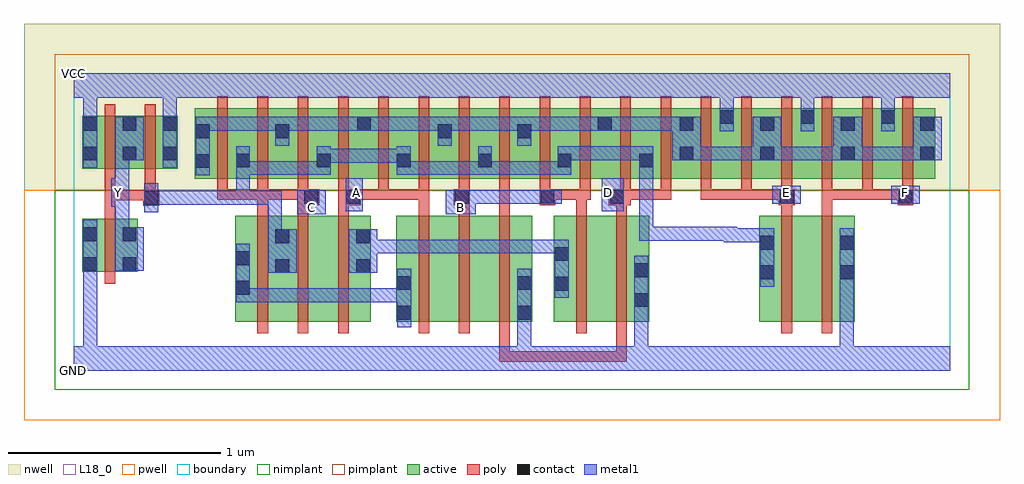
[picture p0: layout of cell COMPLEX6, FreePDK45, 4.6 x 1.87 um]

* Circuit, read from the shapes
.subckt COMPLEX6 A B C D E F GND VCC Y
M1 Y n1 GND VSUBS nfet w=0.25u l=0.05u
M2 n1 C n2 VSUBS nfet w=0.5u l=0.05u
M3 n3 C n1 VSUBS nfet w=0.5u l=0.05u
M4 n4 A n3 VSUBS nfet w=0.5u l=0.05u
M5 n5 A n2 VSUBS nfet w=0.5u l=0.05u
M6 n6 B n5 VSUBS nfet w=0.5u l=0.05u
M7 GND D n6 VSUBS nfet w=0.5u l=0.05u
M8 n7 B n4 VSUBS nfet w=0.5u l=0.05u
M9 GND D n7 VSUBS nfet w=0.5u l=0.05u
M10 n8 E n1 VSUBS nfet w=0.5u l=0.05u
M11 GND F n8 VSUBS nfet w=0.5u l=0.05u
M12 Y n1 VCC n9 pfet w=0.25u l=0.05u m=2
M13 n1 C n10 n9 pfet w=0.332u l=0.05u m=3
M14 n10 A n1 n9 pfet w=0.332u l=0.05u m=3
M15 n1 B n10 n9 pfet w=0.332u l=0.05u m=3
M16 n10 D n1 n9 pfet w=0.332u l=0.05u m=3
M17 VCC E n10 n9 pfet w=0.332u l=0.05u m=3
M18 n10 F VCC n9 pfet w=0.332u l=0.05u m=3
.ends

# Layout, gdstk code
import gdstk
lib = gdstk.Library(unit=1e-6, precision=1e-09)
def R(c, l, rs):  # rectangles x0, y0, x1, y1
    for r in rs: c.add(gdstk.rectangle(r[:2], r[2:], *l))
def A(c, l, x, y, w, h, nx, ny, dx, dy):  # array of equal rectangles
    R(c, l, [(x+i*dx, y+j*dy, x+i*dx+w, y+j*dy+h) for i in range(nx) for j in range(ny)])
active = (1, 0)
pwell = (2, 0)
nwell = (3, 0)
nimplant = (4, 0)
pimplant = (5, 0)
poly = (9, 0)
contact = (10, 0)
metal1 = (11, 0)
L18_0 = (18, 0)
boundary = (235, 0)

complex6 = lib.new_cell('COMPLEX6')
A(complex6, active, 0.57, 0.905, 0.265, 0.332, 3, 1, 0.57, 0)
A(complex6, active, 2.66, 0.905, 0.265, 0.332, 6, 1, 0.19, 0)
R(complex6, active, [(0.76,0.23,1.02,0.73), (0.945,0.23,1.175,0.73), (1.175,0.23,1.4,0.73), (1.52,0.23,1.595,0.73), (1.52,0.23,1.745,0.73), (1.745,0.23,1.935,0.73), (1.935,0.23,2.16,0.73), (2.085,0.23,2.16,0.637), (2.262,0.23,2.337,0.73), (2.262,0.23,2.487,0.73), (2.487,0.23,2.712,0.73), (2.637,0.23,2.712,0.73), (3.23,0.23,3.305,0.73), (3.23,0.23,3.455,0.73), (3.455,0.23,3.68,0.73), (3.605,0.23,3.68,0.73), (0.76,0.235,0.835,0.73), (0.945,0.295,1.02,0.73), (1.325,0.295,1.4,0.73), (0.04,0.465,0.115,0.715), (0.04,0.465,0.3,0.715), (0.225,0.465,0.3,0.715), (0.57,0.905,0.645,1.2), (0.76,0.905,1.02,1.237), (0.76,0.905,0.835,1.07), (0.945,0.905,1.215,1.237), (1.14,0.905,1.215,1.07), (1.33,0.905,1.592,1.237), (1.517,0.905,1.592,1.07), (1.517,0.905,1.785,1.237), (1.9,0.905,2.16,1.237), (1.9,0.905,1.975,1.07), (2.085,0.905,2.35,1.237), (2.275,0.905,2.54,1.237), (2.275,0.905,2.35,1.07), (2.465,0.905,2.735,1.237), (2.85,0.905,2.925,1.2), (3.61,0.905,3.685,1.2), (3.8,0.905,4.06,1.237), (3.8,0.905,3.875,1.237), (3.985,0.905,4.06,1.2), (3.23,0.915,3.305,1.2), (2.465,0.947,2.54,1.2), (2.66,0.947,2.735,1.07), (3.04,0.947,3.115,1.237), (0.04,0.95,0.115,1.2), (0.04,0.95,0.3,1.2), (0.225,0.95,0.49,1.2), (0.415,0.95,0.49,1.2), (0.945,0.975,1.02,1.2), (1.33,0.975,1.405,1.2), (1.71,0.975,1.785,1.2), (2.085,0.975,2.16,1.2), (3.42,0.975,3.495,1.237), (0.225,0.985,0.3,1.2)])
R(complex6, pwell, [(-0.235,-0.235,4.365,0.85)])
R(complex6, nwell, [(-0.235,0.85,4.365,1.635)])
R(complex6, nimplant, [(-0.09,-0.09,4.22,0.85)])
R(complex6, pimplant, [(-0.09,0.85,4.22,1.49)])
A(complex6, poly, 0.865, 0.175, 0.05, 0.61, 3, 1, 0.19, 0)
A(complex6, poly, 1.625, 0.175, 0.05, 0.61, 3, 1, 0.19, 0)
A(complex6, poly, 0.675, 0.805, 0.05, 0.095, 7, 1, 0.19, 0)
A(complex6, poly, 2.195, 0.805, 0.05, 0.095, 10, 1, 0.19, 0)
A(complex6, poly, 2.765, 0.805, 0.05, 0.05, 3, 1, 0.19, 0)
A(complex6, poly, 0.675, 0.85, 0.05, 0.442, 18, 1, 0.19, 0)
R(complex6, poly, [(2.005,0.042,2.055,0.092), (2.005,0.042,2.055,0.092), (2.005,0.042,2.055,0.092), (2.005,0.042,2.055,0.225), (2.005,0.042,2.187,0.092), (2.137,0.042,2.187,0.092), (2.137,0.042,2.44,0.092), (2.39,0.042,2.44,0.092), (2.39,0.042,2.44,0.092), (2.39,0.042,2.44,0.092), (2.39,0.042,2.607,0.092), (2.557,0.042,2.607,0.092), (2.557,0.042,2.607,0.092), (2.557,0.042,2.607,0.092), (2.557,0.042,2.607,0.225), (2.367,0.175,2.417,0.785), (2.557,0.175,2.607,0.785), (3.335,0.175,3.385,0.785), (3.525,0.175,3.575,0.785), (0.145,0.41,0.195,0.77), (0.145,0.72,0.195,0.852), (0.865,0.735,0.915,0.855), (1.055,0.735,1.105,0.83), (1.245,0.735,1.295,0.83), (1.625,0.735,1.675,0.855), (1.815,0.735,1.865,0.83), (2.005,0.735,2.055,0.83), (2.367,0.735,2.417,0.855), (2.557,0.735,2.607,0.83), (3.335,0.735,3.385,0.83), (3.525,0.735,3.575,0.855), (0.327,0.777,0.402,0.852), (1.055,0.78,1.157,0.855), (1.245,0.78,1.352,0.855), (1.79,0.78,1.865,0.855), (2.005,0.78,2.055,0.83), (2.005,0.78,2.055,0.9), (2.195,0.78,2.27,0.855), (2.522,0.78,2.625,0.855), (3.322,0.78,3.397,0.855), (3.882,0.78,3.957,0.855), (0.145,0.802,0.195,0.852), (0.145,0.802,0.195,0.852), (0.145,0.802,0.195,0.852), (0.145,0.802,0.195,0.945), (0.145,0.802,0.377,0.852), (0.335,0.802,0.385,0.945), (0.675,0.805,0.725,0.855), (0.675,0.805,0.915,0.855), (0.865,0.805,0.915,0.855), (0.865,0.805,0.915,0.855), (0.865,0.805,0.915,0.855), (0.865,0.805,1.105,0.855), (1.055,0.805,1.105,0.855), (1.055,0.805,1.105,0.855), (1.302,0.805,1.352,0.855), (1.302,0.805,1.352,0.855), (1.302,0.805,1.485,0.855), (1.435,0.805,1.485,0.855), (1.435,0.805,1.675,0.855), (1.625,0.805,1.675,0.855), (1.625,0.805,1.675,0.855), (1.625,0.805,1.675,0.855), (2.22,0.805,2.417,0.855), (2.367,0.805,2.417,0.855), (2.367,0.805,2.417,0.855), (2.367,0.805,2.435,0.855), (2.575,0.805,2.815,0.855), (2.765,0.805,2.815,0.855), (2.765,0.805,2.815,0.855), (2.955,0.805,3.195,0.855), (3.145,0.805,3.195,0.855), (3.145,0.805,3.195,0.855), (3.145,0.805,3.372,0.855), (3.322,0.805,3.372,0.855), (3.322,0.805,3.372,0.855), (3.525,0.805,3.575,0.855), (3.525,0.805,3.765,0.855), (3.715,0.805,3.765,0.855), (3.715,0.805,3.765,0.855), (3.715,0.805,3.765,0.855), (3.715,0.805,3.932,0.855), (3.882,0.805,3.932,0.855), (3.882,0.805,3.932,0.855), (0.145,0.895,0.195,1.255), (0.335,0.895,0.385,1.255)])
A(complex6, contact, 2.855, 0.99, 0.065, 0.065, 3, 2, 0.38, 0.14)
A(complex6, contact, 3.045, 1.162, 0.065, 0.065, 3, 1, 0.38, 0)
R(complex6, contact, [(1.525,0.24,1.59,0.305), (2.09,0.24,2.155,0.305), (2.642,0.3,2.707,0.365), (0.765,0.357,0.83,0.422), (2.267,0.377,2.332,0.442), (1.525,0.38,1.59,0.445), (2.09,0.38,2.155,0.445), (3.235,0.43,3.3,0.495), (3.61,0.43,3.675,0.495), (2.642,0.44,2.707,0.505), (0.95,0.46,1.015,0.525), (1.33,0.46,1.395,0.525), (0.045,0.47,0.11,0.535), (0.23,0.47,0.295,0.535), (0.765,0.497,0.83,0.562), (2.267,0.517,2.332,0.582), (3.235,0.57,3.3,0.635), (3.61,0.57,3.675,0.635), (0.95,0.6,1.015,0.665), (1.33,0.6,1.395,0.665), (0.045,0.61,0.11,0.675), (0.23,0.61,0.295,0.675), (0.332,0.782,0.397,0.847), (1.087,0.785,1.152,0.85), (1.282,0.785,1.347,0.85), (1.795,0.785,1.86,0.85), (2.2,0.785,2.265,0.85), (2.527,0.785,2.592,0.85), (3.327,0.785,3.392,0.85), (3.887,0.785,3.952,0.85), (0.575,0.955,0.64,1.02), (0.765,0.957,0.83,1.022), (1.145,0.957,1.21,1.022), (1.522,0.957,1.587,1.022), (1.905,0.957,1.97,1.022), (2.28,0.957,2.345,1.022), (2.665,0.957,2.73,1.022), (0.045,0.99,0.11,1.055), (0.23,0.99,0.295,1.055), (0.42,0.99,0.485,1.055), (3.99,0.99,4.055,1.055), (0.575,1.095,0.64,1.16), (0.95,1.095,1.015,1.16), (1.715,1.095,1.78,1.16), (2.09,1.095,2.155,1.16), (0.045,1.13,0.11,1.195), (0.23,1.13,0.295,1.195), (0.42,1.13,0.485,1.195), (1.335,1.13,1.4,1.195), (2.47,1.13,2.535,1.195), (3.99,1.13,4.055,1.195)])
A(complex6, metal1, 2.82, 0.99, 0.135, 0.205, 3, 1, 0.38, 0)
A(complex6, metal1, 3.045, 1.127, 0.065, 0.135, 3, 1, 0.38, 0)
A(complex6, metal1, 3.045, 1.197, 0.065, 0.153, 3, 1, 0.38, 0)
R(complex6, metal1, [(0,0,4.13,0.115), (0.045,0.05,0.11,0.115), (0.045,0.05,0.11,0.115), (0.045,0.05,0.11,0.115), (0.045,0.05,0.11,0.115), (0.045,0.05,0.11,0.115), (0.045,0.05,0.11,0.115), (0.045,0.05,0.11,0.5), (2.09,0.05,2.155,0.27), (2.642,0.05,2.707,0.115), (2.642,0.05,2.707,0.115), (2.642,0.05,2.707,0.33), (3.61,0.05,3.675,0.46), (1.525,0.205,1.59,0.48), (2.09,0.205,2.155,0.27), (2.09,0.205,2.155,0.27), (2.09,0.205,2.155,0.27), (2.09,0.205,2.155,0.27), (2.09,0.205,2.155,0.48), (2.642,0.265,2.707,0.33), (2.642,0.265,2.707,0.33), (2.642,0.265,2.707,0.54), (0.765,0.322,0.83,0.387), (0.765,0.322,0.83,0.387), (0.765,0.322,0.83,0.597), (0.765,0.322,1.072,0.387), (1.007,0.322,1.072,0.387), (1.007,0.322,1.072,0.387), (1.007,0.322,1.072,0.387), (1.007,0.322,1.222,0.387), (1.157,0.322,1.222,0.387), (1.157,0.322,1.222,0.387), (1.157,0.322,1.222,0.387), (1.157,0.322,1.45,0.387), (1.385,0.322,1.45,0.387), (1.385,0.322,1.45,0.387), (1.385,0.322,1.45,0.387), (1.385,0.322,1.59,0.387), (2.267,0.342,2.332,0.617), (3.235,0.395,3.3,0.67), (3.61,0.395,3.675,0.46), (3.61,0.395,3.675,0.46), (3.61,0.395,3.675,0.46), (3.61,0.395,3.675,0.46), (3.61,0.395,3.675,0.67), (0.045,0.435,0.11,0.5), (0.045,0.435,0.11,0.5), (0.045,0.435,0.11,0.71), (0.915,0.46,1.05,0.665), (1.295,0.46,1.43,0.665), (0.195,0.47,0.33,0.675), (1.365,0.552,1.43,0.617), (1.365,0.552,1.43,0.617), (1.365,0.552,1.587,0.617), (1.522,0.552,1.587,0.617), (1.522,0.552,1.587,0.617), (1.522,0.552,1.587,0.617), (1.522,0.552,1.832,0.617), (1.767,0.552,1.97,0.617), (1.767,0.552,1.832,0.617), (1.767,0.552,1.832,0.617), (1.767,0.552,1.832,0.617), (1.905,0.552,1.97,0.617), (1.905,0.552,2.057,0.617), (1.992,0.552,2.195,0.617), (1.992,0.552,2.057,0.617), (2.13,0.552,2.195,0.617), (2.13,0.552,2.195,0.617), (2.13,0.552,2.195,0.617), (2.13,0.552,2.332,0.617), (0.915,0.6,0.98,0.847), (3.062,0.605,3.127,0.67), (3.062,0.605,3.127,0.67), (3.062,0.605,3.127,0.67), (3.062,0.605,3.3,0.67), (3.062,0.605,3.127,0.677), (0.195,0.61,0.26,0.837), (2.665,0.612,2.73,0.677), (2.665,0.612,2.73,0.677), (2.665,0.612,2.73,0.677), (2.665,0.612,2.955,0.677), (2.665,0.612,2.73,0.987), (2.89,0.612,2.955,0.677), (2.89,0.612,2.955,0.677), (2.89,0.612,2.955,0.677), (2.89,0.612,3.127,0.677), (3.062,0.612,3.127,0.677), (1.052,0.737,1.187,0.85), (1.752,0.737,1.895,0.85), (0.332,0.747,0.397,0.882), (1.282,0.75,1.362,0.907), (2.487,0.75,2.592,0.907), (0.177,0.772,0.26,0.907), (0.332,0.782,0.397,0.847), (0.332,0.782,0.397,0.847), (0.332,0.782,0.692,0.847), (0.627,0.782,0.83,0.847), (0.627,0.782,0.692,0.847), (0.627,0.782,0.692,0.847), (0.627,0.782,0.692,0.847), (0.765,0.782,0.83,0.847), (0.765,0.782,0.83,0.847), (0.765,0.782,0.83,0.847), (0.765,0.782,0.98,0.847), (0.765,0.782,0.83,0.987), (0.915,0.782,0.98,0.847), (1.83,0.785,1.97,0.85), (1.905,0.785,1.97,0.85), (1.905,0.785,2.057,0.85), (1.992,0.785,2.195,0.85), (1.992,0.785,2.057,0.85), (2.13,0.785,2.195,0.85), (2.13,0.785,2.23,0.85), (2.165,0.785,2.3,0.85), (3.292,0.785,3.427,0.872), (3.852,0.785,3.987,0.872), (0.195,0.842,0.26,1.055), (0.575,0.92,0.64,1.195), (0.765,0.922,0.83,0.987), (0.765,0.922,0.83,0.987), (0.765,0.922,0.83,1.057), (0.765,0.922,0.98,0.987), (0.915,0.922,0.98,0.987), (0.915,0.922,0.98,0.987), (0.915,0.922,0.98,0.987), (0.915,0.922,1.21,0.987), (1.145,0.922,1.21,1.057), (1.522,0.922,1.587,0.987), (1.522,0.922,1.587,0.987), (1.522,0.922,1.587,1.057), (1.522,0.922,1.832,0.987), (1.767,0.922,1.97,0.987), (1.767,0.922,1.832,0.987), (1.767,0.922,1.832,0.987), (1.767,0.922,1.832,0.987), (1.905,0.922,1.97,1.057), (1.905,0.922,2.057,0.987), (1.992,0.922,2.195,0.987), (1.992,0.922,2.057,0.987), (2.13,0.922,2.195,0.987), (2.13,0.922,2.195,0.987), (2.13,0.922,2.195,0.987), (2.13,0.922,2.345,0.987), (2.28,0.922,2.345,1.057), (2.665,0.922,2.73,1.057), (0.045,0.955,0.11,1.23), (0.42,0.955,0.485,1.23), (1.145,0.98,1.21,1.045), (1.145,0.98,1.21,1.045), (1.145,0.98,1.45,1.045), (1.385,0.98,1.45,1.045), (1.385,0.98,1.45,1.045), (1.385,0.98,1.45,1.045), (1.385,0.98,1.587,1.045), (0.195,0.99,0.33,1.195), (2.89,0.99,2.955,1.055), (2.89,0.99,2.955,1.055), (2.89,0.99,2.955,1.055), (2.89,0.99,2.955,1.055), (2.89,0.99,3.092,1.055), (3.027,0.99,3.092,1.055), (3.027,0.99,3.092,1.055), (3.027,0.99,3.092,1.055), (3.027,0.99,3.265,1.055), (3.27,0.99,3.335,1.055), (3.27,0.99,3.335,1.055), (3.27,0.99,3.482,1.055), (3.417,0.99,3.482,1.055), (3.417,0.99,3.482,1.055), (3.417,0.99,3.482,1.055), (3.417,0.99,3.645,1.055), (3.65,0.99,3.715,1.055), (3.65,0.99,3.715,1.055), (3.65,0.99,3.882,1.055), (3.817,0.99,4.02,1.055), (3.817,0.99,3.882,1.055), (3.817,0.99,3.882,1.055), (3.817,0.99,3.882,1.055), (3.955,0.99,4.09,1.195), (2.28,0.992,2.345,1.057), (2.28,0.992,2.345,1.057), (2.28,0.992,2.57,1.057), (2.505,0.992,2.57,1.057), (2.505,0.992,2.57,1.057), (2.505,0.992,2.57,1.057), (2.505,0.992,2.73,1.057), (0.95,1.06,1.015,1.195), (1.715,1.06,1.78,1.195), (2.09,1.06,2.155,1.195), (0.575,1.13,0.64,1.195), (0.575,1.13,0.64,1.195), (0.575,1.13,0.842,1.195), (0.777,1.13,0.842,1.195), (0.777,1.13,0.842,1.195), (0.777,1.13,0.842,1.195), (0.777,1.13,1.015,1.195), (0.95,1.13,1.015,1.195), (0.95,1.13,1.015,1.195), (0.95,1.13,1.222,1.195), (1.157,1.13,1.222,1.195), (1.157,1.13,1.222,1.195), (1.157,1.13,1.222,1.195), (1.157,1.13,1.365,1.195), (1.3,1.13,1.435,1.195), (1.37,1.13,1.435,1.195), (1.37,1.13,1.435,1.195), (1.37,1.13,1.587,1.195), (1.522,1.13,1.587,1.195), (1.522,1.13,1.587,1.195), (1.522,1.13,1.587,1.195), (1.522,1.13,1.78,1.195), (1.715,1.13,1.78,1.195), (1.715,1.13,1.78,1.195), (1.715,1.13,1.97,1.195), (1.905,1.13,1.97,1.195), (1.905,1.13,2.057,1.195), (1.992,1.13,2.057,1.195), (1.992,1.13,2.155,1.195), (2.09,1.13,2.195,1.195), (2.13,1.13,2.195,1.195), (2.13,1.13,2.362,1.195), (2.297,1.13,2.5,1.195), (2.297,1.13,2.362,1.195), (2.297,1.13,2.362,1.195), (2.297,1.13,2.362,1.195), (2.435,1.13,2.57,1.195), (2.505,1.13,2.57,1.195), (2.505,1.13,2.57,1.195), (2.505,1.13,2.747,1.195), (2.682,1.13,2.885,1.195), (2.682,1.13,2.747,1.195), (2.682,1.13,2.747,1.195), (2.682,1.13,2.747,1.195), (0.045,1.165,0.11,1.35), (0.42,1.165,0.485,1.35), (0,1.285,4.13,1.4), (0.045,1.285,0.11,1.35), (0.045,1.285,0.11,1.35), (0.42,1.285,0.485,1.35), (0.42,1.285,0.485,1.35)])
A(complex6, L18_0, 3.045, 1.127, 0.065, 0.135, 3, 1, 0.38, 0)
A(complex6, L18_0, 3.045, 1.197, 0.065, 0.153, 3, 1, 0.38, 0)
R(complex6, L18_0, [(0,0,4.13,0.115), (0.045,0.05,0.11,0.115), (0.045,0.05,0.11,0.115), (0.045,0.05,0.11,0.115), (0.045,0.05,0.11,0.115), (0.045,0.05,0.11,0.115), (0.045,0.05,0.11,0.115), (0.045,0.05,0.11,0.5), (2.09,0.05,2.155,0.27), (2.642,0.05,2.707,0.115), (2.642,0.05,2.707,0.115), (2.642,0.05,2.707,0.33), (3.61,0.05,3.675,0.46), (2.09,0.205,2.155,0.27), (2.09,0.205,2.155,0.27), (2.09,0.205,2.155,0.27), (2.09,0.205,2.155,0.27), (2.09,0.205,2.155,0.48), (2.642,0.265,2.707,0.33), (2.642,0.265,2.707,0.33), (2.642,0.265,2.707,0.54), (3.61,0.395,3.675,0.46), (3.61,0.395,3.675,0.46), (3.61,0.395,3.675,0.46), (3.61,0.395,3.675,0.46), (3.61,0.395,3.675,0.67), (0.045,0.435,0.11,0.5), (0.045,0.435,0.11,0.5), (0.045,0.435,0.11,0.71), (0.195,0.47,0.33,0.675), (0.195,0.61,0.26,0.837), (1.052,0.737,1.187,0.85), (1.087,0.737,1.152,0.802), (1.752,0.737,1.895,0.85), (1.787,0.737,1.852,0.802), (1.282,0.75,1.362,0.907), (2.487,0.75,2.592,0.907), (0.177,0.772,0.26,0.907), (1.83,0.785,1.97,0.85), (1.905,0.785,1.97,0.85), (1.905,0.785,2.057,0.85), (1.992,0.785,2.057,0.85), (1.992,0.785,2.195,0.85), (2.13,0.785,2.195,0.85), (2.13,0.785,2.23,0.85), (2.165,0.785,2.3,0.85), (3.292,0.785,3.427,0.872), (3.852,0.785,3.987,0.872), (0.177,0.807,0.242,0.872), (1.297,0.807,1.362,0.872), (2.487,0.807,2.552,0.872), (3.327,0.807,3.392,0.872), (3.887,0.807,3.952,0.872), (0.195,0.842,0.26,1.055), (0.045,0.955,0.11,1.23), (0.42,0.955,0.485,1.23), (0.195,0.99,0.33,1.195), (0.045,1.165,0.11,1.35), (0.42,1.165,0.485,1.35), (0,1.285,4.13,1.4), (0.045,1.285,0.11,1.35), (0.045,1.285,0.11,1.35), (0.42,1.285,0.485,1.35), (0.42,1.285,0.485,1.35)])
R(complex6, boundary, [(0,0,4.13,1.4)])
complex6.add(gdstk.Label('A', (1.33,0.84), layer=11, texttype=0))
complex6.add(gdstk.Label('B', (1.82,0.77), layer=11, texttype=0))
complex6.add(gdstk.Label('C', (1.12,0.77), layer=11, texttype=0))
complex6.add(gdstk.Label('D', (2.52,0.84), layer=11, texttype=0))
complex6.add(gdstk.Label('E', (3.36,0.84), layer=11, texttype=0))
complex6.add(gdstk.Label('F', (3.92,0.84), layer=11, texttype=0))
complex6.add(gdstk.Label('Y', (0.21,0.84), layer=11, texttype=0))
complex6.add(gdstk.Label('VCC', (0,1.4), layer=11, texttype=0))
complex6.add(gdstk.Label('GND', (0,0), layer=11, texttype=0))

lib.write_gds('COMPLEX6.gds')
